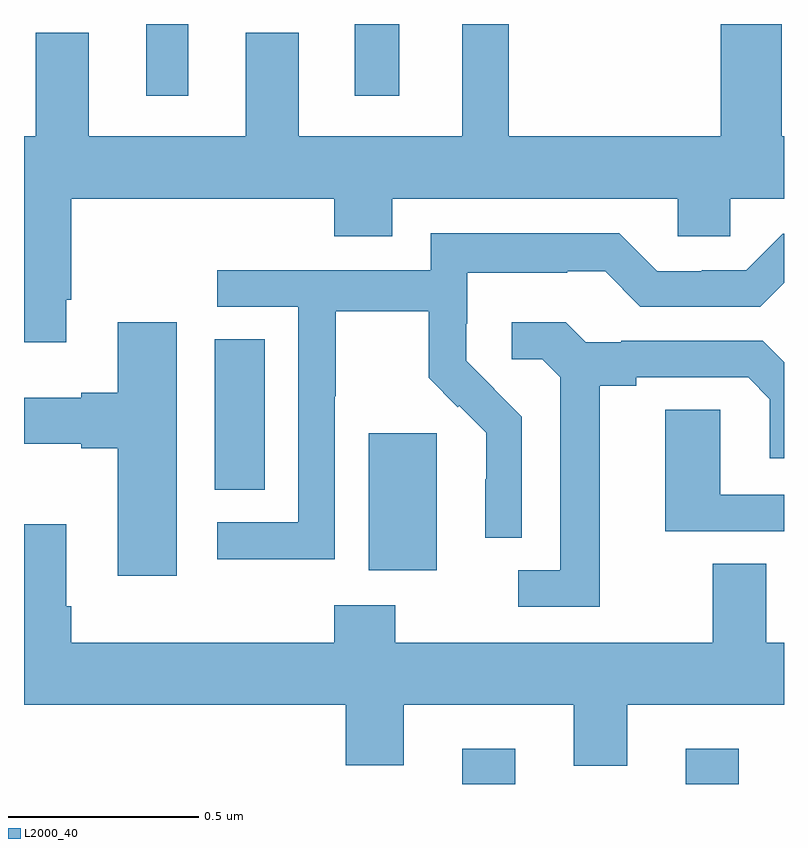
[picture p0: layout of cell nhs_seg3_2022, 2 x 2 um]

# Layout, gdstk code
import gdstk
lib = gdstk.Library(unit=1e-6, precision=1e-09)
def R(c, l, rs):  # rectangles x0, y0, x1, y1
    for r in rs: c.add(gdstk.rectangle(r[:2], r[2:], *l))
def P(c, l, *ps):  # polygons
    for p in ps: c.add(gdstk.Polygon(p, *l))
L2000_40 = (2000, 40)

nhs_seg3_2022 = lib.new_cell('nhs_seg3_2022')
R(nhs_seg3_2022, L2000_40, [(137.153,675.4,137.293,675.493), (137.741,675.4,137.881,675.493), (136.907,675.962,137.086,676.323), (136.502,676.174,136.633,676.571), (136.322,677.211,136.432,677.4), (136.871,677.211,136.987,677.4)])
P(nhs_seg3_2022, L2000_40, [(136.817,676.841),(136.969,676.841),(136.969,676.94),(137.721,676.94),(137.721,676.842),(137.859,676.842),(137.859,676.94),(138,676.94),(138,677.104),(137.994,677.104),(137.994,677.4),(137.834,677.4),(137.834,677.104),(137.275,677.104),(137.275,677.4),(137.153,677.4),(137.153,677.104),(136.723,677.104),(136.723,677.377),(136.583,677.377),(136.583,677.104),(136.171,677.104),(136.171,677.377),(136.031,677.377),(136.031,677.104),(136,677.104),(136,676.563),(136.111,676.563),(136.111,676.675),(136.124,676.675),(136.124,676.94),(136.817,676.94)],
  [(136.818,676.42),(136.821,676.42),(136.821,676.644),(137.065,676.644),(137.065,676.469),(137.142,676.392),(137.145,676.395),(137.216,676.325),(137.216,676.202),(137.214,676.202),(137.214,676.048),(137.31,676.048),(137.31,676.366),(137.237,676.439),(137.238,676.44),(137.164,676.514),(137.164,676.611),(137.166,676.611),(137.166,676.745),(137.429,676.745),(137.429,676.749),(137.529,676.749),(137.622,676.656),(137.937,676.656),(138,676.719),(138,676.848),(137.997,676.848),(137.901,676.752),(137.783,676.752),(137.783,676.749),(137.667,676.749),(137.567,676.849),(137.07,676.849),(137.07,676.752),(136.509,676.752),(136.509,676.656),(136.722,676.656),(136.722,676.089),(136.509,676.089),(136.509,675.991),(136.818,675.991)],
  [(137.515,676.448),(137.611,676.448),(137.611,676.47),(137.906,676.47),(137.963,676.413),(137.963,676.257),(138,676.257),(138,676.51),(137.944,676.566),(137.572,676.566),(137.572,676.563),(137.478,676.563),(137.426,676.615),(137.283,676.615),(137.283,676.518),(137.364,676.518),(137.411,676.471),(137.411,675.963),(137.301,675.963),(137.301,675.867),(137.515,675.867)],
  [(136.402,676.615),(136.247,676.615),(136.247,676.43),(136.151,676.43),(136.151,676.417),(136,676.417),(136,676.295),(136.151,676.295),(136.151,676.283),(136.247,676.283),(136.247,675.948),(136.402,675.948)],
  [(138,676.161),(137.832,676.161),(137.832,676.385),(137.687,676.385),(137.687,676.065),(138,676.065)],
  [(137.587,675.608),(138,675.608),(138,675.772),(137.953,675.772),(137.953,675.98),(137.813,675.98),(137.813,675.772),(136.977,675.772),(136.977,675.871),(136.817,675.871),(136.817,675.772),(136.124,675.772),(136.124,675.868),(136.111,675.868),(136.111,676.084),(136,676.084),(136,675.608),(136.847,675.608),(136.847,675.449),(136.999,675.449),(136.999,675.608),(137.447,675.608),(137.447,675.448),(137.587,675.448)])

lib.write_gds('nhs_seg3_2022.gds')
